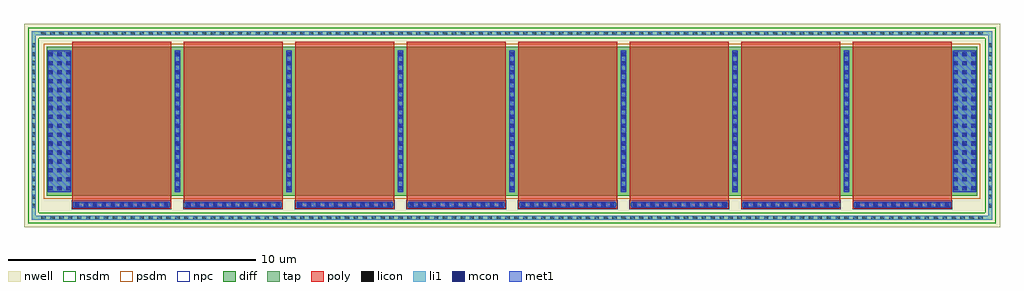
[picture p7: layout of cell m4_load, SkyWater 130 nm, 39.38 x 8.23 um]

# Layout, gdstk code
import gdstk
lib = gdstk.Library(unit=1e-6, precision=1e-09)
def R(c, l, rs):  # rectangles x0, y0, x1, y1
    for r in rs: c.add(gdstk.rectangle(r[:2], r[2:], *l))
def A(c, l, x, y, w, h, nx, ny, dx, dy):  # array of equal rectangles
    R(c, l, [(x+i*dx, y+j*dy, x+i*dx+w, y+j*dy+h) for i in range(nx) for j in range(ny)])
def P(c, l, *ps):  # polygons
    for p in ps: c.add(gdstk.Polygon(p, *l))
nwell = (64, 20)
diff = (65, 20)
tap = (65, 44)
poly = (66, 20)
licon = (66, 44)
li1 = (67, 20)
mcon = (67, 44)
met1 = (68, 20)
nsdm = (93, 44)
psdm = (94, 20)
npc = (95, 20)

m4_load = lib.new_cell('m4_load')
R(m4_load, nwell, [(-0.92,-1.285,38.46,6.945)])
R(m4_load, diff, [(0,0,37.54,6)])
P(m4_load, tap, [(-0.615,-0.98),(-0.615,6.47),(-0.445,6.47),(-0.445,-0.81),(37.985,-0.81),(37.985,6.47),(-0.615,6.47),(-0.615,6.64),(38.155,6.64),(38.155,-0.98)])
A(m4_load, poly, 1.02, -0.53, 4, 0.33, 8, 1, 4.5, 0)
A(m4_load, poly, 1.02, -0.2, 4, 6.4, 8, 1, 4.5, 0)
A(m4_load, licon, -0.215, -0.98, 0.17, 0.17, 106, 2, 0.36, 7.45)
A(m4_load, licon, -0.615, -0.495, 0.17, 0.17, 1, 19, 0, 0.36)
A(m4_load, licon, 37.985, -0.495, 0.17, 0.17, 1, 19, 0, 0.36)
A(m4_load, licon, 1.135, -0.45, 0.17, 0.17, 11, 1, 0.36, 0)
A(m4_load, licon, 5.635, -0.45, 0.17, 0.17, 11, 1, 0.36, 0)
A(m4_load, licon, 10.135, -0.45, 0.17, 0.17, 11, 1, 0.36, 0)
A(m4_load, licon, 14.635, -0.45, 0.17, 0.17, 11, 1, 0.36, 0)
A(m4_load, licon, 19.135, -0.45, 0.17, 0.17, 11, 1, 0.36, 0)
A(m4_load, licon, 23.635, -0.45, 0.17, 0.17, 11, 1, 0.36, 0)
A(m4_load, licon, 28.135, -0.45, 0.17, 0.17, 11, 1, 0.36, 0)
A(m4_load, licon, 32.635, -0.45, 0.17, 0.17, 11, 1, 0.36, 0)
A(m4_load, licon, 0.065, 0.215, 0.17, 0.17, 3, 16, 0.36, 0.36)
A(m4_load, licon, 5.185, 0.215, 0.17, 0.17, 7, 16, 4.5, 0.36)
A(m4_load, licon, 36.585, 0.215, 0.17, 0.17, 3, 16, 0.36, 0.36)
A(m4_load, li1, 1.055, -0.45, 3.93, 0.17, 8, 1, 4.5, 0)
A(m4_load, li1, 5.185, 0.135, 0.17, 5.73, 7, 1, 4.5, 0)
R(m4_load, li1, [(0.065,0.135,0.955,5.865), (36.585,0.135,37.475,5.865)])
P(m4_load, li1, [(-0.615,-0.98),(-0.615,6.47),(-0.445,6.47),(-0.445,-0.81),(37.985,-0.81),(37.985,6.47),(-0.615,6.47),(-0.615,6.64),(38.155,6.64),(38.155,-0.98)])
A(m4_load, mcon, 1.135, -0.45, 0.17, 0.17, 11, 1, 0.36, 0)
A(m4_load, mcon, 5.635, -0.45, 0.17, 0.17, 11, 1, 0.36, 0)
A(m4_load, mcon, 10.135, -0.45, 0.17, 0.17, 11, 1, 0.36, 0)
A(m4_load, mcon, 14.635, -0.45, 0.17, 0.17, 11, 1, 0.36, 0)
A(m4_load, mcon, 19.135, -0.45, 0.17, 0.17, 11, 1, 0.36, 0)
A(m4_load, mcon, 23.635, -0.45, 0.17, 0.17, 11, 1, 0.36, 0)
A(m4_load, mcon, 28.135, -0.45, 0.17, 0.17, 11, 1, 0.36, 0)
A(m4_load, mcon, 32.635, -0.45, 0.17, 0.17, 11, 1, 0.36, 0)
A(m4_load, mcon, 0.065, 0.215, 0.17, 0.17, 3, 16, 0.36, 0.36)
A(m4_load, mcon, 5.185, 0.215, 0.17, 0.17, 7, 16, 4.5, 0.36)
A(m4_load, mcon, 36.585, 0.215, 0.17, 0.17, 3, 16, 0.36, 0.36)
A(m4_load, met1, 1.075, -0.48, 3.89, 0.23, 8, 1, 4.5, 0)
A(m4_load, met1, 5.155, 0.155, 0.23, 5.69, 7, 1, 4.5, 0)
R(m4_load, met1, [(0.035,0.155,0.985,5.845), (36.555,0.155,37.505,5.845)])
P(m4_load, nsdm, [(-0.74,-1.105),(-0.74,6.345),(-0.32,6.345),(-0.32,-0.685),(37.86,-0.685),(37.86,6.345),(-0.74,6.345),(-0.74,6.765),(38.28,6.765),(38.28,-1.105)])
R(m4_load, psdm, [(-0.125,-0.125,37.665,6.125)])
A(m4_load, npc, 1.01, -0.54, 4.02, 0.35, 8, 1, 4.5, 0)

lib.write_gds('m4_load.gds')
